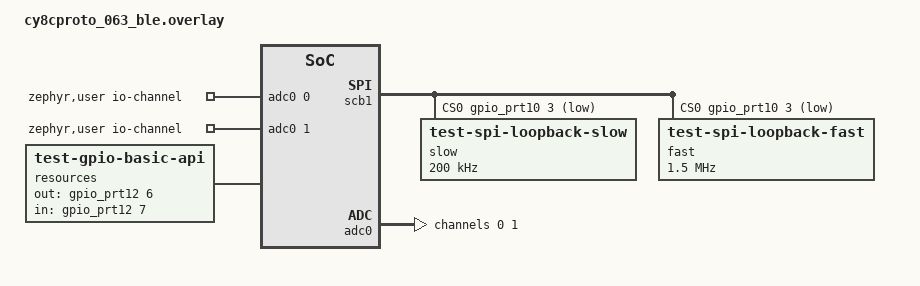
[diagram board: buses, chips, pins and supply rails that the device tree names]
&pinctrl {
	/* Configure pin control bias mode for SPI pins (MASTER) */
	p10_0_scb1_spi_m_mosi: p10_0_scb1_spi_m_mosi {
		pinmux = <DT_CAT1_PINMUX(10, 0, HSIOM_SEL_ACT_8)>;
		drive-push-pull;
	};

	p10_1_scb1_spi_m_miso: p10_1_scb1_spi_m_miso {
		pinmux = <DT_CAT1_PINMUX(10, 1, HSIOM_SEL_ACT_8)>;
		input-enable;
	};

	p10_2_scb1_spi_m_clk: p10_2_scb1_spi_m_clk {
		pinmux = <DT_CAT1_PINMUX(10, 2, HSIOM_SEL_ACT_8)>;
		drive-push-pull;
	};
};

spi: &scb1 {
	compatible = "infineon,spi";
	status = "okay";

	pinctrl-0 = <&p10_0_scb1_spi_m_mosi &p10_1_scb1_spi_m_miso &p10_2_scb1_spi_m_clk>;
	pinctrl-names = "default";
	cs-gpios = <&gpio_prt10 3 GPIO_ACTIVE_LOW>;

	slow@0 {
		compatible = "test-spi-loopback-slow";
		reg = <0>;
		spi-max-frequency = <200000>;
	};

	fast@0 {
		compatible = "test-spi-loopback-fast";
		reg = <0>;
		spi-max-frequency = <1500000>;
	};
};

&gpio_prt10 {
	status = "okay";
};

#include <zephyr/dt-bindings/adc/adc.h>

/ {
	zephyr,user {
		io-channels = <&adc0 0>, <&adc0 1>;
	};
};

&adc0 {
	status = "okay";
	#address-cells = <1>;
	#size-cells = <0>;
	channel@0 {
		reg = <0>;
		zephyr,acquisition-time = <ADC_ACQ_TIME(ADC_ACQ_TIME_MICROSECONDS, 1)>;
		zephyr,gain = "ADC_GAIN_1";
		zephyr,reference = "ADC_REF_INTERNAL";
		zephyr,resolution = <12>;
		zephyr,input-positive = <2>;
	};
	channel@1 {
		reg = <1>;
		zephyr,acquisition-time = <ADC_ACQ_TIME(ADC_ACQ_TIME_MICROSECONDS, 1)>;
		zephyr,gain = "ADC_GAIN_1";
		zephyr,reference = "ADC_REF_INTERNAL";
		zephyr,resolution = <12>;
		zephyr,input-positive = <3>;
	};
};

/ {
	resources {
		compatible = "test-gpio-basic-api";
		out-gpios = <&gpio_prt12 6 0>;
		in-gpios = <&gpio_prt12 7 0>;
	};
};

&gpio_prt12 {
	status = "okay";
};
